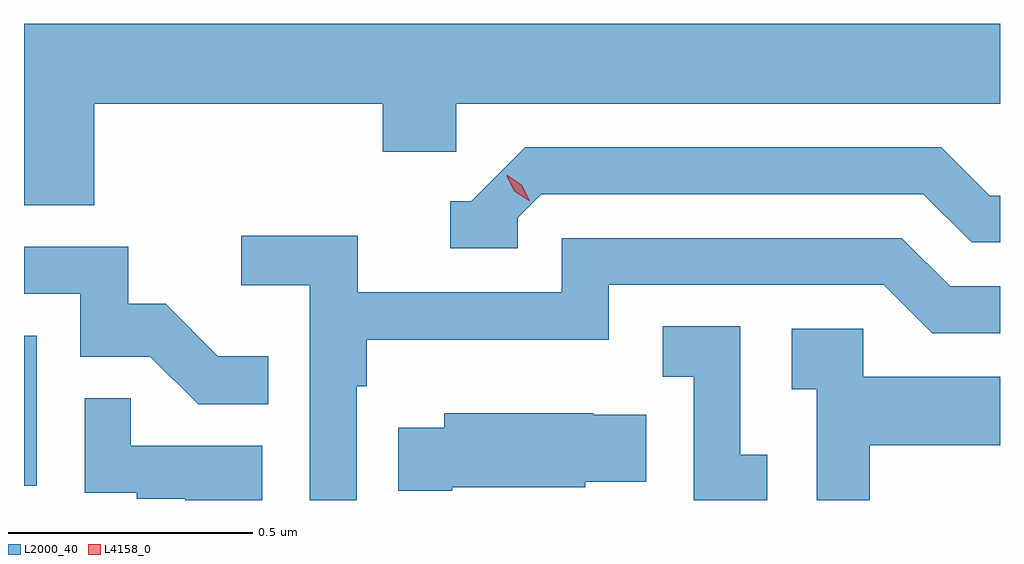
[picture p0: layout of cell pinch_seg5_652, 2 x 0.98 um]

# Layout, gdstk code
import gdstk
lib = gdstk.Library(unit=1e-6, precision=1e-09)
def R(c, l, rs):  # rectangles x0, y0, x1, y1
    for r in rs: c.add(gdstk.rectangle(r[:2], r[2:], *l))
def P(c, l, *ps):  # polygons
    for p in ps: c.add(gdstk.Polygon(p, *l))
L2000_40 = (2000, 40)
L4158_0 = (4158, 0)

pinch_seg5_652 = lib.new_cell('pinch_seg5_652')
R(pinch_seg5_652, L2000_40, [(1031.924,862.638,1031.95,862.945)])
P(pinch_seg5_652, L2000_40, [(1032.068,863.42),(1032.659,863.42),(1032.659,863.322),(1032.81,863.322),(1032.81,863.42),(1033.924,863.42),(1033.924,863.584),(1031.924,863.584),(1031.924,863.212),(1032.068,863.212)],
  [(1032.936,863.187),(1032.984,863.235),(1033.767,863.235),(1033.866,863.136),(1033.924,863.136),(1033.924,863.232),(1033.903,863.232),(1033.804,863.331),(1032.951,863.331),(1032.84,863.22),(1032.797,863.22),(1032.797,863.124),(1032.936,863.124)],
  [(1032.606,862.841),(1032.626,862.841),(1032.626,862.937),(1033.122,862.937),(1033.122,863.049),(1033.686,863.049),(1033.785,862.95),(1033.924,862.95),(1033.924,863.046),(1033.822,863.046),(1033.723,863.145),(1033.026,863.145),(1033.026,863.034),(1032.608,863.034),(1032.608,863.15),(1032.369,863.15),(1032.369,863.048),(1032.51,863.048),(1032.51,862.608),(1032.606,862.608)],
  [(1032.425,862.903),(1032.321,862.903),(1032.214,863.01),(1032.138,863.01),(1032.138,863.127),(1031.924,863.127),(1031.924,863.031),(1032.039,863.031),(1032.039,862.902),(1032.183,862.902),(1032.281,862.804),(1032.425,862.804)],
  [(1033.447,862.701),(1033.392,862.701),(1033.392,862.964),(1033.233,862.964),(1033.233,862.861),(1033.296,862.861),(1033.296,862.608),(1033.447,862.608)],
  [(1033.657,862.721),(1033.924,862.721),(1033.924,862.861),(1033.644,862.861),(1033.644,862.959),(1033.497,862.959),(1033.497,862.835),(1033.548,862.835),(1033.548,862.608),(1033.657,862.608)],
  [(1032.412,862.719),(1032.143,862.719),(1032.143,862.817),(1032.048,862.817),(1032.048,862.623),(1032.155,862.623),(1032.155,862.611),(1032.254,862.611),(1032.254,862.608),(1032.412,862.608)],
  [(1032.802,862.634),(1033.074,862.634),(1033.074,862.646),(1033.199,862.646),(1033.199,862.783),(1033.091,862.783),(1033.091,862.786),(1032.785,862.786),(1032.785,862.756),(1032.691,862.756),(1032.691,862.627),(1032.802,862.627)])
P(pinch_seg5_652, L4158_0, [(1032.96,863.221),(1032.929,863.241),(1032.913,863.273),(1032.913,863.274),(1032.914,863.274),(1032.944,863.254),(1032.96,863.221),(1032.96,863.221)])

lib.write_gds('pinch_seg5_652.gds')
